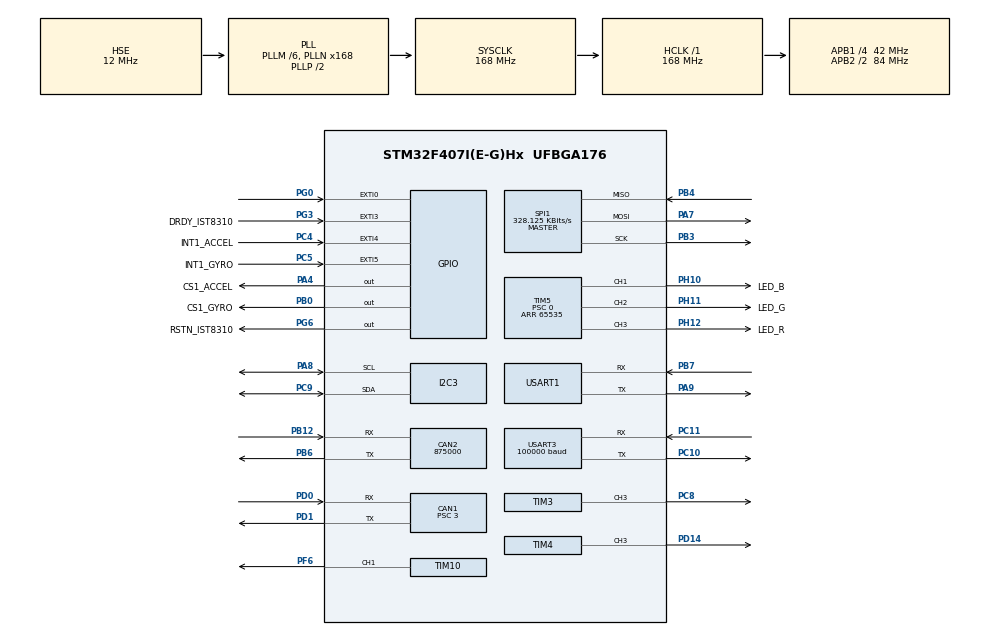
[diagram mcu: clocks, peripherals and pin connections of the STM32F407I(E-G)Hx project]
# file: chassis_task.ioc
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CAN1.BS1=CAN_BS1_10TQ
CAN1.BS2=CAN_BS2_3TQ
CAN1.CalculateBaudRate=1000000
CAN1.CalculateTimeQuantum=71.42857142857143
CAN1.Prescaler=3
CAN2.CalculateBaudRate=875000
CAN2.CalculateTimeBit=1142
CAN2.CalculateTimeQuantum=380.95238095238096
Dma.Request0=SPI1_RX
Dma.Request1=SPI1_TX
Dma.Request2=USART3_RX
Dma.SPI1_RX.0.Direction=DMA_PERIPH_TO_MEMORY
Dma.SPI1_RX.0.FIFOMode=DMA_FIFOMODE_DISABLE
Dma.SPI1_RX.0.Instance=DMA2_Stream2
Dma.SPI1_RX.0.MemDataAlignment=DMA_MDATAALIGN_BYTE
Dma.SPI1_RX.0.MemInc=DMA_MINC_ENABLE
Dma.SPI1_RX.0.Mode=DMA_NORMAL
Dma.SPI1_RX.0.PeriphDataAlignment=DMA_PDATAALIGN_BYTE
Dma.SPI1_RX.0.PeriphInc=DMA_PINC_DISABLE
Dma.SPI1_RX.0.Priority=DMA_PRIORITY_VERY_HIGH
Dma.SPI1_TX.1.Direction=DMA_MEMORY_TO_PERIPH
Dma.SPI1_TX.1.FIFOMode=DMA_FIFOMODE_DISABLE
Dma.SPI1_TX.1.Instance=DMA2_Stream3
Dma.SPI1_TX.1.MemDataAlignment=DMA_MDATAALIGN_BYTE
Dma.SPI1_TX.1.MemInc=DMA_MINC_ENABLE
Dma.SPI1_TX.1.Mode=DMA_NORMAL
Dma.SPI1_TX.1.PeriphDataAlignment=DMA_PDATAALIGN_BYTE
Dma.SPI1_TX.1.PeriphInc=DMA_PINC_DISABLE
Dma.SPI1_TX.1.Priority=DMA_PRIORITY_HIGH
Dma.USART3_RX.2.Direction=DMA_PERIPH_TO_MEMORY
Dma.USART3_RX.2.FIFOMode=DMA_FIFOMODE_DISABLE
Dma.USART3_RX.2.Instance=DMA1_Stream1
Dma.USART3_RX.2.MemDataAlignment=DMA_MDATAALIGN_BYTE
Dma.USART3_RX.2.MemInc=DMA_MINC_ENABLE
Dma.USART3_RX.2.Mode=DMA_NORMAL
Dma.USART3_RX.2.PeriphDataAlignment=DMA_PDATAALIGN_BYTE
Dma.USART3_RX.2.PeriphInc=DMA_PINC_DISABLE
Dma.USART3_RX.2.Priority=DMA_PRIORITY_HIGH
FREERTOS.INCLUDE_eTaskGetState=1
FREERTOS.INCLUDE_pcTaskGetTaskName=1
FREERTOS.INCLUDE_uxTaskGetStackHighWaterMark=1
FREERTOS.INCLUDE_vTaskCleanUpResources=1
FREERTOS.INCLUDE_vTaskDelayUntil=1
FREERTOS.INCLUDE_xEventGroupSetBitFromISR=1
FREERTOS.INCLUDE_xQueueGetMutexHolder=1
FREERTOS.INCLUDE_xSemaphoreGetMutexHolder=1
FREERTOS.INCLUDE_xTaskAbortDelay=1
FREERTOS.INCLUDE_xTaskGetCurrentTaskHandle=1
FREERTOS.INCLUDE_xTaskGetHandle=1
FREERTOS.INCLUDE_xTimerPendFunctionCall=1
FREERTOS.Tasks01=test,24,128,test_task,As weak,NULL,Dynamic,NULL,NULL
FREERTOS.configTOTAL_HEAP_SIZE=24576
I2C3.I2C_Mode=I2C_Fast
Mcu.Family=STM32F4
Mcu.Name=STM32F407I(E-G)Hx
Mcu.Package=UFBGA176
NVIC.CAN1_RX0_IRQn=true\:6\:0\:true\:false\:true\:true\:true\:true\:true
NVIC.DMA1_Stream1_IRQn=true\:5\:0\:true\:false\:false\:true\:false\:false\:true
NVIC.DMA2_Stream2_IRQn=true\:5\:0\:true\:false\:false\:true\:false\:true\:true
NVIC.DMA2_Stream3_IRQn=true\:5\:0\:true\:false\:false\:true\:false\:true\:true
NVIC.EXTI0_IRQn=true\:6\:0\:true\:false\:true\:true\:true\:true\:true
NVIC.EXTI3_IRQn=true\:5\:0\:true\:false\:true\:true\:true\:true\:true
NVIC.EXTI4_IRQn=true\:5\:0\:true\:false\:true\:true\:true\:true\:true
NVIC.EXTI9_5_IRQn=true\:5\:0\:true\:false\:true\:true\:true\:true\:true
NVIC.PriorityGroup=NVIC_PRIORITYGROUP_4
NVIC.TIM7_IRQn=true\:15\:0\:false\:false\:true\:false\:false\:true\:true
NVIC.TimeBase=TIM7_IRQn
NVIC.TimeBaseIP=TIM7
NVIC.USART1_IRQn=true\:5\:0\:false\:false\:true\:true\:true\:true\:true
NVIC.USART3_IRQn=true\:4\:0\:true\:false\:false\:false\:true\:true\:true
PA13.Mode=Serial_Wire
PA13.Signal=SYS_JTMS-SWDIO
PA14.Mode=Serial_Wire
PA14.Signal=SYS_JTCK-SWCLK
PA4.GPIO_Label=CS1_ACCEL
PA4.GPIO_PuPd=GPIO_PULLUP
PA4.GPIO_Speed=GPIO_SPEED_FREQ_HIGH
PA4.PinState=GPIO_PIN_SET
PA4.Signal=GPIO_Output
PA7.GPIO_PuPd=GPIO_PULLUP
PA7.Mode=Full_Duplex_Master
PA7.Signal=SPI1_MOSI
PA8.Mode=I2C
PA8.Signal=I2C3_SCL
PA9.Mode=Asynchronous
PA9.Signal=USART1_TX
PB0.GPIO_Label=CS1_GYRO
PB0.GPIO_PuPd=GPIO_PULLUP
PB0.GPIO_Speed=GPIO_SPEED_FREQ_HIGH
PB0.PinState=GPIO_PIN_SET
PB0.Signal=GPIO_Output
PB12.Mode=CAN_Activate
PB12.Signal=CAN2_RX
PB3.GPIO_PuPd=GPIO_PULLUP
PB3.Mode=Full_Duplex_Master
PB3.Signal=SPI1_SCK
PB4.GPIO_PuPd=GPIO_PULLUP
PB4.Mode=Full_Duplex_Master
PB4.Signal=SPI1_MISO
PB6.Mode=CAN_Activate
PB6.Signal=CAN2_TX
PB7.Mode=Asynchronous
PB7.Signal=USART1_RX
PC10.Mode=Asynchronous
PC10.Signal=USART3_TX
PC11.Mode=Asynchronous
PC11.Signal=USART3_RX
PC4.GPIO_Label=INT1_ACCEL
PC4.GPIO_ModeDefaultEXTI=GPIO_MODE_IT_FALLING
PC4.GPIO_PuPd=GPIO_PULLUP
PC4.Signal=GPXTI4
PC5.GPIO_Label=INT1_GYRO
PC5.GPIO_ModeDefaultEXTI=GPIO_MODE_IT_FALLING
PC5.GPIO_PuPd=GPIO_PULLUP
PC5.Signal=GPXTI5
PC8.GPIO_PuPd=GPIO_PULLUP
PC8.GPIO_Speed=GPIO_SPEED_FREQ_HIGH
PC8.Signal=S_TIM3_CH3
PC9.GPIO_Pu=GPIO_PULLUP
PC9.Mode=I2C
PC9.Signal=I2C3_SDA
PD0.Mode=CAN_Activate
PD0.Signal=CAN1_RX
PD1.Mode=CAN_Activate
PD1.Signal=CAN1_TX
PD14.GPIO_PuPd=GPIO_PULLUP
PD14.GPIO_Speed=GPIO_SPEED_FREQ_HIGH
PD14.Signal=S_TIM4_CH3
PF6.GPIO_PuPd=GPIO_PULLUP
PF6.GPIO_Speed=GPIO_SPEED_FREQ_HIGH
PF6.Signal=S_TIM10_CH1
PG0.GPIO_ModeDefaultEXTI=GPIO_MODE_IT_FALLING
PG0.GPIO_PuPd=GPIO_PULLUP
PG0.Signal=GPXTI0
PG3.GPIO_Label=DRDY_IST8310
PG3.GPIO_ModeDefaultEXTI=GPIO_MODE_IT_FALLING
PG3.GPIO_PuPd=GPIO_PULLUP
PG3.Signal=GPXTI3
PG6.GPIO_Label=RSTN_IST8310
PG6.GPIO_PuPd=GPIO_PULLUP
PG6.GPIO_Speed=GPIO_SPEED_FREQ_MEDIUM
PG6.PinState=GPIO_PIN_SET
PG6.Signal=GPIO_Output
PH0-OSC_IN.Mode=HSE-External-Oscillator
PH0-OSC_IN.Signal=RCC_OSC_IN
PH1-OSC_OUT.Mode=HSE-External-Oscillator
PH1-OSC_OUT.Signal=RCC_OSC_OUT
PH10.GPIO_Label=LED_B
PH10.GPIO_PuPd=GPIO_PULLUP
PH10.GPIO_Speed=GPIO_SPEED_FREQ_HIGH
PH10.Signal=S_TIM5_CH1
PH11.GPIO_Label=LED_G
PH11.GPIO_PuPd=GPIO_PULLUP
PH11.GPIO_Speed=GPIO_SPEED_FREQ_HIGH
PH11.Signal=S_TIM5_CH2
PH12.GPIO_Label=LED_R
PH12.GPIO_PuPd=GPIO_PULLUP
PH12.GPIO_Speed=GPIO_SPEED_FREQ_HIGH
PH12.Signal=S_TIM5_CH3
ProjectManager.HeapSize=0x2000
ProjectManager.StackSize=0x2000
ProjectManager.TargetToolchain=MDK-ARM V5.32
RCC.48MHZClocksFreq_Value=48000000
RCC.AHBFreq_Value=168000000
RCC.APB1CLKDivider=RCC_HCLK_DIV4
RCC.APB1Freq_Value=42000000
RCC.APB1TimFreq_Value=84000000
RCC.APB2CLKDivider=RCC_HCLK_DIV2
RCC.APB2Freq_Value=84000000
RCC.APB2TimFreq_Value=168000000
RCC.CortexFreq_Value=168000000
RCC.HCLKFreq_Value=168000000
RCC.HSE_VALUE=12000000
RCC.HSI_VALUE=16000000
RCC.LSE_VALUE=32768
RCC.PLLM=6
RCC.PLLN=168
RCC.PLLQ=7
RCC.PLLSourceVirtual=RCC_PLLSOURCE_HSE
RCC.RCC_RTC_Clock_SourceVirtual=RCC_RTCCLKSOURCE_HSE_DIV30
RCC.RCC_RTC_Clock_Source_FROM_HSE=RCC_RTCCLKSOURCE_HSE_DIV30
RCC.SYSCLKFreq_VALUE=168000000
RCC.SYSCLKSource=RCC_SYSCLKSOURCE_PLLCLK
RCC.VCOOutputFreq_Value=336000000
RTC.AsynchPrediv=124
RTC.SynchPrediv=3199
SH.S_TIM10_CH1.0=TIM10_CH1,PWM Generation1 CH1
SH.S_TIM3_CH3.0=TIM3_CH3,PWM Generation3 CH3
SH.S_TIM4_CH3.0=TIM4_CH3,PWM Generation3 CH3
SH.S_TIM5_CH1.0=TIM5_CH1,PWM Generation1 CH1
SH.S_TIM5_CH2.0=TIM5_CH2,PWM Generation2 CH2
SH.S_TIM5_CH3.0=TIM5_CH3,PWM Generation3 CH3
SPI1.BaudRatePrescaler=SPI_BAUDRATEPRESCALER_256
SPI1.CLKPhase=SPI_PHASE_2EDGE
SPI1.CLKPolarity=SPI_POLARITY_HIGH
SPI1.CalculateBaudRate=328.125 KBits/s
SPI1.Direction=SPI_DIRECTION_2LINES
SPI1.Mode=SPI_MODE_MASTER
SPI1.VirtualType=VM_MASTER
TIM10.Channel=TIM_CHANNEL_1
TIM10.Period=4999
TIM3.Channel-PWM\ Generation3\ CH3=TIM_CHANNEL_3
TIM3.Period=8399
TIM4.Channel-PWM\ Generation3\ CH3=TIM_CHANNEL_3
TIM4.Period=65535
TIM4.Prescaler=167
TIM5.Channel-PWM\ Generation1\ CH1=TIM_CHANNEL_1
TIM5.Channel-PWM\ Generation2\ CH2=TIM_CHANNEL_2
TIM5.Channel-PWM\ Generation3\ CH3=TIM_CHANNEL_3
TIM5.Period=65535
TIM5.Prescaler=0
TIM8.Period=19999
TIM8.Prescaler=167
USART1.VirtualMode=VM_ASYNC
USART3.BaudRate=100000
USART3.Parity=PARITY_EVEN
USART3.VirtualMode=VM_ASYNC
VP_FREERTOS_VS_CMSIS_V1.Mode=CMSIS_V1
VP_RTC_VS_RTC_Activate.Mode=RTC_Enabled
VP_SYS_VS_tim7.Mode=TIM7
VP_TIM10_VS_ClockSourceINT.Mode=Enable_Timer
VP_TIM3_VS_ClockSourceINT.Mode=Internal
VP_TIM4_VS_ClockSourceINT.Mode=Internal
VP_TIM5_VS_ClockSourceINT.Mode=Internal
VP_TIM8_VS_ClockSourceINT.Mode=Internal
board=custom

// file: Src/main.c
/* USER CODE BEGIN Header */
/**
  ******************************************************************************
  * @file           : main.c
  * @brief          : Main program body
  ******************************************************************************
  * @attention
  *
  * <h2><center>&copy; Copyright (c) 2019 STMicroelectronics.
  * All rights reserved.</center></h2>
  *
  * This software component is licensed by ST under Ultimate Liberty license
  * SLA0044, the "License"; You may not use this file except in compliance with
  * the License. You may obtain a copy of the License at:
  *                             www.st.com/SLA0044
  *
  ******************************************************************************
  */
/* USER CODE END Header */
#include "main.h"
#include "cmsis_os.h"
#include "can.h"
#include "dma.h"
#include "i2c.h"
#include "rtc.h"
#include "spi.h"
#include "tim.h"
#include "usart.h"
#include "gpio.h"

/* USER CODE BEGIN Includes */
#include "bsp_can.h"
#include "bsp_delay.h"
#include "remote_control.h"

#include "calibrate_task.h"
#include "chassis_task.h"
#include "detect_task.h"
#include "INS_task.h"
#include "led_flow_task.h"
/* USER CODE END Includes */
#include <stdio.h>
#include <stdlib.h>

void SystemClock_Config(void);
void MX_FREERTOS_Init(void);
/* USER CODE BEGIN PFP */
double keyset_vx = 0.0;/* USER CODE END PFP */
double keyset_vy = 0.0;
double keyset_wz = 0.0;
uint8_t serial_i;
char recv_data[48];

/* USER CODE BEGIN 0 */
void USART1_IRQHandler(void)
{
  fp32 vx_rec, vy_rec, wz_rec;
  volatile uint8_t data;

  //receive interrupt 接收中断
  if (huart1.Instance->SR & UART_FLAG_RXNE) {
    recv_data[serial_i] = huart1.Instance->DR;
		data = recv_data[serial_i];

    if (recv_data[serial_i] == 's') {
        //data validation

        if (recv_data[serial_i - 1] == 'p')
        {

         int rec = sscanf(recv_data, "x%fy%fz%fps", &vx_rec, &vy_rec, &wz_rec);
          if (rec != 3) {
          }
          else
          {
            //data correct, so give the value
            keyset_vx = vx_rec;
            keyset_vy = vy_rec;
            keyset_wz = wz_rec;
            char buffer[25];
            sprintf(buffer, "x%.2fy%.2fz%.2f\r\n", vx_rec, vy_rec, wz_rec);
            HAL_UART_Transmit(&huart1, buffer, strlen(buffer), 100);
            HAL_UART_Transmit(&huart1, "\r\n", 2, 100);
          }
        }
		serial_i = 0;
    }
		else{
      serial_i++;
    }
    }

  //Simple frame: x0.0y0.0z0.0

}
/* USER CODE END 0 */

int main(void)
{

  /* MCU Configuration--------------------------------------------------------*/

  /* Reset of all peripherals, Initializes the Flash interface and the Systick. */
  HAL_Init();

  /* Configure the system clock */
  SystemClock_Config();

  /* Initialize all configured peripherals */
  MX_GPIO_Init();
  MX_DMA_Init();
  MX_CAN1_Init();
  MX_CAN2_Init();
  MX_SPI1_Init();
  MX_TIM4_Init();
  MX_TIM5_Init();
  MX_USART3_UART_Init();
  MX_TIM8_Init();
  MX_I2C3_Init();
  MX_RTC_Init();
  MX_TIM3_Init();
  MX_TIM10_Init();
  //MX_I2C1_Init();
  MX_USART1_UART_Init();
  __HAL_UART_ENABLE_IT(&huart1, UART_IT_RXNE);  //receive interrupt
  //__HAL_UART_ENABLE_IT(&huart1, UART_IT_IDLE);  //idle interrupt
  /* USER CODE BEGIN 2 */
    can_filter_init();
    delay_init();
    cali_param_init();
    //remote_control_init();
  /* USER CODE END 2 */

  /* Call init function for freertos objects (in freertos.c) */
  MX_FREERTOS_Init();

  /* Start scheduler */
  osKernelStart();

  /* We should never get here as control is now taken by the scheduler */
  /* Infinite loop */
  while (1)
  {
  }
}

void SystemClock_Config(void)
{
  RCC_OscInitTypeDef RCC_OscInitStruct = {0};
  RCC_ClkInitTypeDef RCC_ClkInitStruct = {0};

  /** Configure the main internal regulator output voltage
  */
  __HAL_RCC_PWR_CLK_ENABLE();
  __HAL_PWR_VOLTAGESCALING_CONFIG(PWR_REGULATOR_VOLTAGE_SCALE1);

  /** Initializes the RCC Oscillators according to the specified parameters
  * in the RCC_OscInitTypeDef structure.
  */
  RCC_OscInitStruct.OscillatorType = RCC_OSCILLATORTYPE_HSE;
  RCC_OscInitStruct.HSEState = RCC_HSE_ON;
  RCC_OscInitStruct.PLL.PLLState = RCC_PLL_ON;
  RCC_OscInitStruct.PLL.PLLSource = RCC_PLLSOURCE_HSE;
  RCC_OscInitStruct.PLL.PLLM = 6;
  RCC_OscInitStruct.PLL.PLLN = 168;
  RCC_OscInitStruct.PLL.PLLP = RCC_PLLP_DIV2;
  RCC_OscInitStruct.PLL.PLLQ = 7;
  if (HAL_RCC_OscConfig(&RCC_OscInitStruct) != HAL_OK)
  {
    Error_Handler();
  }

  /** Initializes the CPU, AHB and APB buses clocks
  */
  RCC_ClkInitStruct.ClockType = RCC_CLOCKTYPE_HCLK|RCC_CLOCKTYPE_SYSCLK
                              |RCC_CLOCKTYPE_PCLK1|RCC_CLOCKTYPE_PCLK2;
  RCC_ClkInitStruct.SYSCLKSource = RCC_SYSCLKSOURCE_PLLCLK;
  RCC_ClkInitStruct.AHBCLKDivider = RCC_SYSCLK_DIV1;
  RCC_ClkInitStruct.APB1CLKDivider = RCC_HCLK_DIV4;
  RCC_ClkInitStruct.APB2CLKDivider = RCC_HCLK_DIV2;

  if (HAL_RCC_ClockConfig(&RCC_ClkInitStruct, FLASH_LATENCY_5) != HAL_OK)
  {
    Error_Handler();
  }

}

void HAL_TIM_PeriodElapsedCallback(TIM_HandleTypeDef *htim)
{
  if (htim->Instance == TIM7) {
    HAL_IncTick();
  }
}

void Error_Handler(void)
{
}

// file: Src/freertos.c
/* USER CODE BEGIN Header */
/**
  ******************************************************************************
  * File Name          : freertos.c
  * Description        : Code for freertos applications
  ******************************************************************************
  * @attention
  *
  * <h2><center>&copy; Copyright (c) 2019 STMicroelectronics.
  * All rights reserved.</center></h2>
  *
  * This software component is licensed by ST under Ultimate Liberty license
  * SLA0044, the "License"; You may not use this file except in compliance with
  * the License. You may obtain a copy of the License at:
  *                             www.st.com/SLA0044
  *
  ******************************************************************************
  */
/* USER CODE END Header */

#include "FreeRTOS.h"
#include "task.h"
#include "main.h"
#include "cmsis_os.h"

/* USER CODE BEGIN Includes */

#include "calibrate_task.h"
#include "chassis_task.h"
#include "detect_task.h"
#include "INS_task.h"
#include "led_flow_task.h"

/* USER CODE END Includes */

/* USER CODE BEGIN PTD */

osThreadId calibrate_tast_handle;
osThreadId chassisTaskHandle;
osThreadId detect_handle;
osThreadId imuTaskHandle;
osThreadId led_RGB_flow_handle;

/* USER CODE END PTD */

osThreadId testHandle;

void test_task(void const * argument);

void MX_FREERTOS_Init(void); /* (MISRA C 2004 rule 8.1) */

/* GetIdleTaskMemory prototype (linked to static allocation support) */
void vApplicationGetIdleTaskMemory( StaticTask_t **ppxIdleTaskTCBBuffer, StackType_t **ppxIdleTaskStackBuffer, uint32_t *pulIdleTaskStackSize );

/* GetTimerTaskMemory prototype (linked to static allocation support) */
void vApplicationGetTimerTaskMemory( StaticTask_t **ppxTimerTaskTCBBuffer, StackType_t **ppxTimerTaskStackBuffer, uint32_t *pulTimerTaskStackSize );

/* USER CODE BEGIN GET_IDLE_TASK_MEMORY */
static StaticTask_t xIdleTaskTCBBuffer;
static StackType_t xIdleStack[configMINIMAL_STACK_SIZE];

void vApplicationGetIdleTaskMemory( StaticTask_t **ppxIdleTaskTCBBuffer, StackType_t **ppxIdleTaskStackBuffer, uint32_t *pulIdleTaskStackSize )
{
  *ppxIdleTaskTCBBuffer = &xIdleTaskTCBBuffer;
  *ppxIdleTaskStackBuffer = &xIdleStack[0];
  *pulIdleTaskStackSize = configMINIMAL_STACK_SIZE;
  /* place for user code */
}
/* USER CODE END GET_IDLE_TASK_MEMORY */

/* USER CODE BEGIN GET_TIMER_TASK_MEMORY */
static StaticTask_t xTimerTaskTCBBuffer;
static StackType_t xTimerStack[configTIMER_TASK_STACK_DEPTH];

void vApplicationGetTimerTaskMemory( StaticTask_t **ppxTimerTaskTCBBuffer, StackType_t **ppxTimerTaskStackBuffer, uint32_t *pulTimerTaskStackSize )
{
  *ppxTimerTaskTCBBuffer = &xTimerTaskTCBBuffer;
  *ppxTimerTaskStackBuffer = &xTimerStack[0];
  *pulTimerTaskStackSize = configTIMER_TASK_STACK_DEPTH;
  /* place for user code */
}
/* USER CODE END GET_TIMER_TASK_MEMORY */

void MX_FREERTOS_Init(void) {

  /* Create the thread(s) */
  /* definition and creation of test */
  osThreadDef(test, test_task, osPriorityNormal, 0, 128);
  testHandle = osThreadCreate(osThread(test), NULL);

  /* USER CODE BEGIN RTOS_THREADS */
  /* add threads, ... */
    osThreadDef(cali, calibrate_task, osPriorityNormal, 0, 512);
    calibrate_tast_handle = osThreadCreate(osThread(cali), NULL);

    osThreadDef(ChassisTask, chassis_task, osPriorityAboveNormal, 0, 512);
    chassisTaskHandle = osThreadCreate(osThread(ChassisTask), NULL);

    //osThreadDef(DETECT, detect_task, osPriorityNormal, 0, 256);
    //detect_handle = osThreadCreate(osThread(DETECT), NULL);

    osThreadDef(imuTask, INS_task, osPriorityRealtime, 0, 1024);
    imuTaskHandle = osThreadCreate(osThread(imuTask), NULL);

    osThreadDef(led, led_RGB_flow_task, osPriorityNormal, 0, 256);
    led_RGB_flow_handle = osThreadCreate(osThread(led), NULL);

  /* USER CODE END RTOS_THREADS */

}

__weak void test_task(void const * argument)
{
  for(;;)
  {
    osDelay(1);
  }
}
